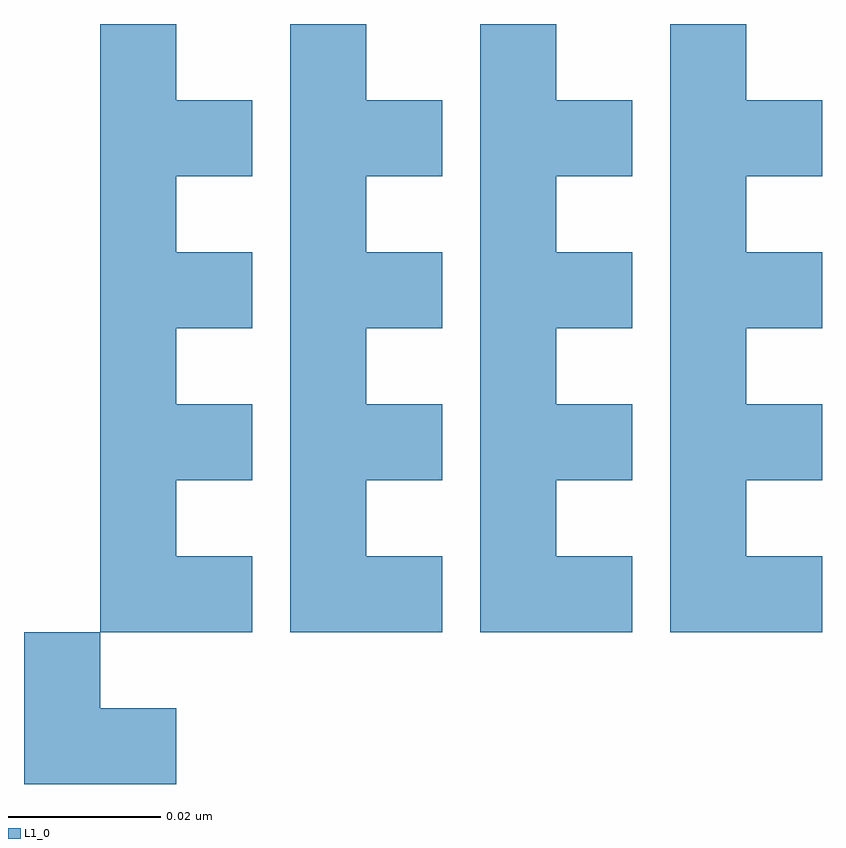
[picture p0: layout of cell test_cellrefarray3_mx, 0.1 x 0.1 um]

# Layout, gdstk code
from math import pi, radians
import gdstk
lib = gdstk.Library(unit=1e-6, precision=1e-09)
def P(c, l, *ps):  # polygons
    for p in ps: c.add(gdstk.Polygon(p, *l))
L1_0 = (1, 0)

test = lib.new_cell('test')
P(test, L1_0, [(0,0),(0,0.02),(0.01,0.02),(0.01,0.01),(0.02,0.01),(0.02,0)])

test_cellrefarray3_mx = lib.new_cell('test_cellrefarray3_mx')
test_cellrefarray3_mx.add(gdstk.Reference(test, (0,0)))
r = gdstk.Reference(test, (0.01,0.02), rotation=pi/2, x_reflection=True); r.repetition = gdstk.Repetition(4, 4, v1=(0.025,0), v2=(0,0.02)); test_cellrefarray3_mx.add(r)

lib.write_gds('test_cellrefarray3_mx.gds')
